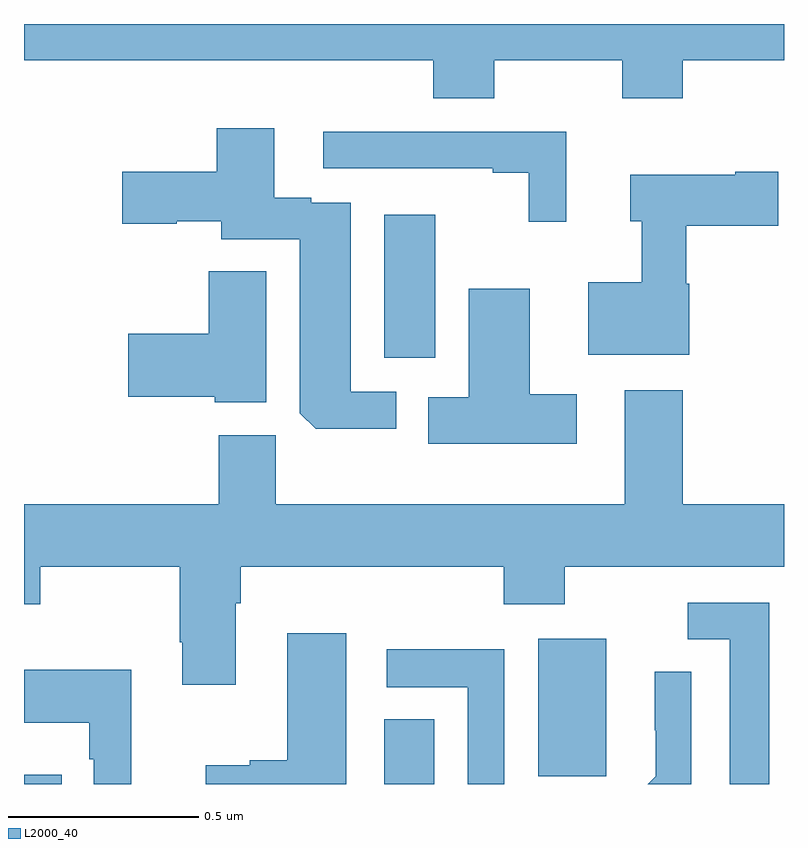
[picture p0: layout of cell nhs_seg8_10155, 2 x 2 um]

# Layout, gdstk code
import gdstk
lib = gdstk.Library(unit=1e-6, precision=1e-09)
def R(c, l, rs):  # rectangles x0, y0, x1, y1
    for r in rs: c.add(gdstk.rectangle(r[:2], r[2:], *l))
def P(c, l, *ps):  # polygons
    for p in ps: c.add(gdstk.Polygon(p, *l))
L2000_40 = (2000, 40)

nhs_seg8_10155 = lib.new_cell('nhs_seg8_10155')
R(nhs_seg8_10155, L2000_40, [(245,1143.9,245.099,1143.925), (245.948,1143.9,246.079,1144.07), (246.353,1143.921,246.532,1144.282), (245.948,1145.022,246.082,1145.398)])
P(nhs_seg8_10155, L2000_40, [(245,1145.804),(246.077,1145.804),(246.077,1145.705),(246.237,1145.705),(246.237,1145.804),(246.574,1145.804),(246.574,1145.705),(246.734,1145.705),(246.734,1145.804),(247,1145.804),(247,1145.9),(245,1145.9)],
  [(245.979,1144.932),(245.86,1144.932),(245.86,1145.43),(245.756,1145.43),(245.756,1145.443),(245.659,1145.443),(245.659,1145.626),(245.507,1145.626),(245.507,1145.511),(245.259,1145.511),(245.259,1145.374),(245.402,1145.374),(245.402,1145.381),(245.519,1145.381),(245.519,1145.334),(245.726,1145.334),(245.726,1144.876),(245.768,1144.835),(245.979,1144.835)],
  [(246.427,1145.616),(245.787,1145.616),(245.787,1145.52),(246.233,1145.52),(246.233,1145.508),(246.328,1145.508),(246.328,1145.379),(246.427,1145.379)],
  [(246.751,1145.217),(246.743,1145.217),(246.743,1145.369),(246.985,1145.369),(246.985,1145.511),(246.872,1145.511),(246.872,1145.503),(246.596,1145.503),(246.596,1145.381),(246.626,1145.381),(246.626,1145.221),(246.485,1145.221),(246.485,1145.03),(246.751,1145.03)],
  [(245.638,1145.249),(245.486,1145.249),(245.486,1145.085),(245.274,1145.085),(245.274,1144.919),(245.502,1144.919),(245.502,1144.904),(245.638,1144.904)],
  [(246.454,1144.926),(246.331,1144.926),(246.331,1145.203),(246.17,1145.203),(246.17,1144.918),(246.064,1144.918),(246.064,1144.796),(246.454,1144.796)],
  [(246.263,1144.373),(246.423,1144.373),(246.423,1144.472),(247,1144.472),(247,1144.636),(246.734,1144.636),(246.734,1144.936),(246.581,1144.936),(246.581,1144.636),(245.663,1144.636),(245.663,1144.818),(245.513,1144.818),(245.513,1144.636),(245,1144.636),(245,1144.373),(245.043,1144.373),(245.043,1144.472),(245.41,1144.472),(245.41,1144.273),(245.417,1144.273),(245.417,1144.161),(245.557,1144.161),(245.557,1144.376),(245.57,1144.376),(245.57,1144.472),(246.263,1144.472)],
  [(246.961,1144.377),(246.747,1144.377),(246.747,1144.281),(246.857,1144.281),(246.857,1143.9),(246.961,1143.9)],
  [(245.848,1144.297),(245.693,1144.297),(245.693,1143.962),(245.594,1143.962),(245.594,1143.949),(245.478,1143.949),(245.478,1143.9),(245.848,1143.9)],
  [(246.264,1144.254),(245.955,1144.254),(245.955,1144.155),(246.168,1144.155),(246.168,1143.9),(246.264,1143.9)],
  [(245.282,1144.201),(245,1144.201),(245,1144.061),(245.172,1144.061),(245.172,1143.965),(245.184,1143.965),(245.184,1143.9),(245.282,1143.9)],
  [(246.756,1144.196),(246.66,1144.196),(246.66,1144.042),(246.662,1144.042),(246.662,1143.92),(246.642,1143.9),(246.756,1143.9)])

lib.write_gds('nhs_seg8_10155.gds')
